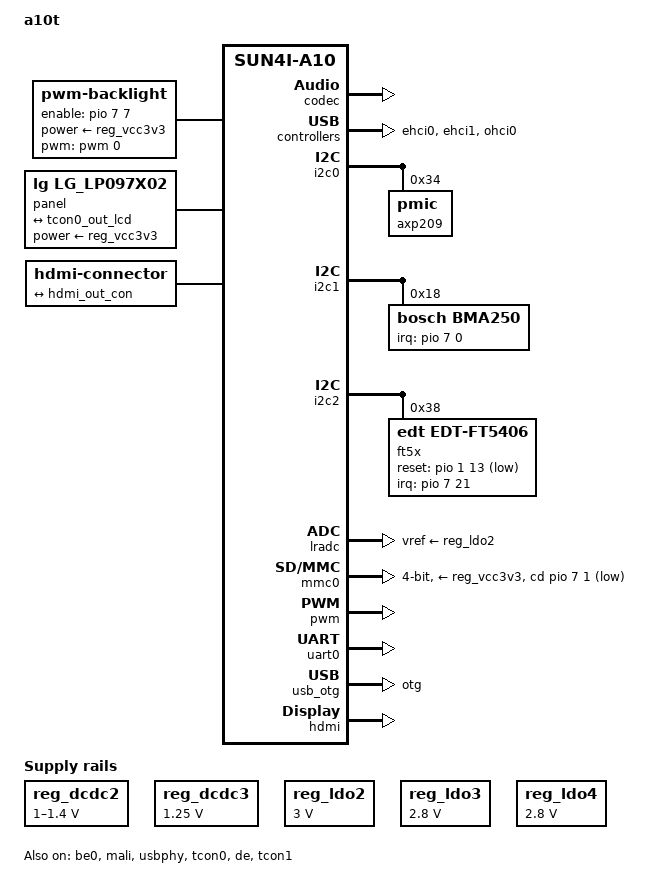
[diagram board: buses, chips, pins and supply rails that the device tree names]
/*
 * Copyright 2026 geekchun <geekchun@163.com>
 *
 * This file is dual-licensed: you can use it either under the terms
 * of the GPL or the X11 license, at your option. Note that this dual
 * licensing only applies to this file, and not this project as a
 * whole.
 *
 *  a) This file is free software; you can redistribute it and/or
 *     modify it under the terms of the GNU General Public License as
 *     published by the Free Software Foundation; either version 2 of the
 *     License, or (at your option) any later version.
 *
 *     This file is distributed in the hope that it will be useful,
 *     but WITHOUT ANY WARRANTY; without even the implied warranty of
 *     MERCHANTABILITY or FITNESS FOR A PARTICULAR PURPOSE.  See the
 *     GNU General Public License for more details.
 *
 * Or, alternatively,
 *
 *  b) Permission is hereby granted, free of charge, to any person
 *     obtaining a copy of this software and associated documentation
 *     files (the "Software"), to deal in the Software without
 *     restriction, including without limitation the rights to use,
 *     copy, modify, merge, publish, distribute, sublicense, and/or
 *     sell copies of the Software, and to permit persons to whom the
 *     Software is furnished to do so, subject to the following
 *     conditions:
 *
 *     The above copyright notice and this permission notice shall be
 *     included in all copies or substantial portions of the Software.
 *
 *     THE SOFTWARE IS PROVIDED "AS IS", WITHOUT WARRANTY OF ANY KIND,
 *     EXPRESS OR IMPLIED, INCLUDING BUT NOT LIMITED TO THE WARRANTIES
 *     OF MERCHANTABILITY, FITNESS FOR A PARTICULAR PURPOSE AND
 *     NONINFRINGEMENT. IN NO EVENT SHALL THE AUTHORS OR COPYRIGHT
 *     HOLDERS BE LIABLE FOR ANY CLAIM, DAMAGES OR OTHER LIABILITY,
 *     WHETHER IN AN ACTION OF CONTRACT, TORT OR OTHERWISE, ARISING
 *     FROM, OUT OF OR IN CONNECTION WITH THE SOFTWARE OR THE USE OR
 *     OTHER DEALINGS IN THE SOFTWARE.
 */

/dts-v1/;
#include "sun4i-a10.dtsi"
#include "sunxi-common-regulators.dtsi"
#include <dt-bindings/gpio/gpio.h>
#include <dt-bindings/input/input.h>
#include <dt-bindings/interrupt-controller/irq.h>
#include <dt-bindings/pwm/pwm.h>

/ {
	model = "a10t";
	compatible = "teclast,a10t", "allwinner,sun4i-a10";

	aliases {
		serial0 = &uart0;
	};
	
	backlight: backlight {
		compatible = "pwm-backlight";
		pwms = <&pwm 0 50000 PWM_POLARITY_INVERTED>;
		brightness-levels = <55 58 60 65 70 75 80 85 90 95 100>;
		default-brightness-level = <8>;
		enable-gpios = <&pio 7 7 GPIO_ACTIVE_HIGH>; /* PH7 */
		power-supply = <&reg_vcc3v3>;
	};

	chosen {
		stdout-path = "serial0:115200n8";
	};

	panel: panel {
		compatible = "lg,lg_lp097x02","panel-lvds";
		power-supply = <&reg_vcc3v3>;

		width-mm = <153>;
		height-mm = <90>;
		data-mapping = "jeida-18";

		panel-timing {
			/* 1024x600 @60Hz */
			clock-frequency = <100000000>;
			hactive = <1024>;
			vactive = <768>;
			hsync-len = <260>;
			hfront-porch = <480>;
			hback-porch = <320>;
			vfront-porch = <15>;
			vback-porch = <10>;
			vsync-len = <6>;
		};

		port {
			panel_input: endpoint {
				remote-endpoint = <&tcon0_out_lcd>;
			};
		};
	};

	hdmi-connector {
		compatible = "hdmi-connector";
		type = "a";

		port {
			hdmi_con_in: endpoint {
				remote-endpoint = <&hdmi_out_con>;
			};
		};
	};

	reserved-memory {
		default-pool {
			compatible = "shared-dma-pool";
			size = <0x10000000>;
			alloc-ranges = <0x60000000 0x10000000>;/* 解决内存分配失败 */
		};
	};
};

&be0 {
	status = "okay";
};

&codec {
	status = "okay";
};

&cpu0 {
	cpu-supply = <&reg_dcdc2>;
};

&ehci0  {
	status = "okay";
};

&ehci1 {
	status = "okay";
};

&i2c0 {
	status = "okay";

	axp209: pmic@34 {
		reg = <0x34>;
		interrupts = <0>;
	};
};

#include "axp209.dtsi"



&i2c1 {
	status = "okay";

	/* Accelerometer */
	bma250@18 {
		compatible = "bosch,bma250";
		reg = <0x18>;
		interrupt-parent = <&pio>;
		interrupts = <7 0 IRQ_TYPE_EDGE_RISING>; /* PH0 / EINT0 */
	};
};

&i2c2 {
	status = "okay";

	ft5x: touchscreen@38 {
		compatible = "edt,edt-ft5406";
		reg = <0x38>;
		interrupt-parent = <&pio>;
		interrupts = <7 21 IRQ_TYPE_EDGE_FALLING>;
		reset-gpios = <&pio 1 13 GPIO_ACTIVE_LOW>; /* PB13 */
		touchscreen-size-x = <1024>;
		touchscreen-size-y = <768>;
		/* touchscreen-swapped-x-y; */
	};
};

&lradc {
	vref-supply = <&reg_ldo2>;
	status = "okay";

	button-200 {
		label = "Volume Up";
		linux,code = <KEY_VOLUMEUP>;
		channel = <0>;
		voltage = <200000>;
	};

	button-1000 {
		label = "Volume Down";
		linux,code = <KEY_VOLUMEDOWN>;
		channel = <0>;
		voltage = <1000000>;
	};

	button-1200 {
		label = "Home";
		linux,code = <KEY_HOMEPAGE>;
		channel = <0>;
		voltage = <1200000>;
	};
};

&mmc0 {
	vmmc-supply = <&reg_vcc3v3>;
	bus-width = <4>;
	cd-gpios = <&pio 7 1 GPIO_ACTIVE_LOW>; /* PH1 */
	status = "okay";
};

&ohci0  {
	status = "okay";
};

&otg_sram {
	status = "okay";
};

&pwm {
	pinctrl-names = "default";
	pinctrl-0 = <&pwm0_pin>;
	status = "okay";
};

&reg_dcdc2 {
	regulator-always-on;
	regulator-min-microvolt = <1000000>;
	regulator-max-microvolt = <1400000>;
	regulator-name = "vdd-cpu";
};

&reg_dcdc3 {
	regulator-always-on;
	regulator-min-microvolt = <1250000>;
	regulator-max-microvolt = <1250000>;
	regulator-name = "vdd-int-dll";
};

&reg_ldo1 {
	regulator-name = "vdd-rtc";
};

&reg_usb0_vbus {
	status = "okay";
};

&reg_usb1_vbus {
	regulator-always-on;
	status = "okay";
};

&reg_usb2_vbus {
	regulator-always-on;
	status = "okay";
};

&usb_power_supply {
	compatible = "x-powers,axp202-usb-power-supply";
	status = "okay";
};

&battery_power_supply {
	compatible = "x-powers,axp209-battery-power-supply";
	status = "okay";
};

&ac_power_supply {
	compatible = "x-powers,axp202-ac-power-supply";
	status = "okay";
};

&reg_ldo2{
	regulator-name = "ldo2";
	regulator-always-on;
	regulator-min-microvolt = <3000000>;
	regulator-max-microvolt = <3000000>;
};

&reg_ldo3 {
	regulator-name = "ldo3";
	regulator-always-on;
	regulator-min-microvolt = <2800000>;
	regulator-max-microvolt = <2800000>;
};

&reg_ldo4 {
	regulator-name = "ldo4";
	regulator-always-on;
	regulator-min-microvolt = <2800000>;
	regulator-max-microvolt = <2800000>;
};

&uart0 {
	pinctrl-names = "default";
	pinctrl-0 = <&uart0_pb_pins>;
	status = "okay";
};

&usb_otg {
	dr_mode = "otg";/* host can not charge */
	status = "okay";
};

&mali {
	assigned-clock-rates = <320000000>; /* 避免花屏 */
	status = "okay";
};

&usbphy {
	usb0_id_det-gpios = <&pio 7 4 (GPIO_ACTIVE_HIGH | GPIO_PULL_UP)>; /* PH4 */
	usb0_vbus_det-gpios = <&pio 7 5 (GPIO_ACTIVE_HIGH | GPIO_PULL_DOWN)>; /* PH5 */
	usb0_vbus-supply = <&reg_usb0_vbus>;
	usb1_vbus-supply = <&reg_usb1_vbus>;
	usb2_vbus-supply = <&reg_usb2_vbus>;
	status = "okay";
};

&tcon0 {
	resets = <&ccu RST_TCON0>,<&ccu RST_LVDS>;
	reset-names = "lcd","lvds";
	pinctrl-names = "default";
	pinctrl-0 = <&lcd_lvds0_pins>;
	status = "okay";
};

&tcon0_out {
	tcon0_out_lcd: endpoint@0 {
		reg = <0>;
		remote-endpoint = <&panel_input>;
	};
};

&de {
	status = "okay";
};


&tcon1 {
	
	status = "okay";
};

&hdmi {
	status = "okay";
};

&hdmi_out {
	hdmi_out_con: endpoint {
		remote-endpoint = <&hdmi_con_in>;
	};
};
